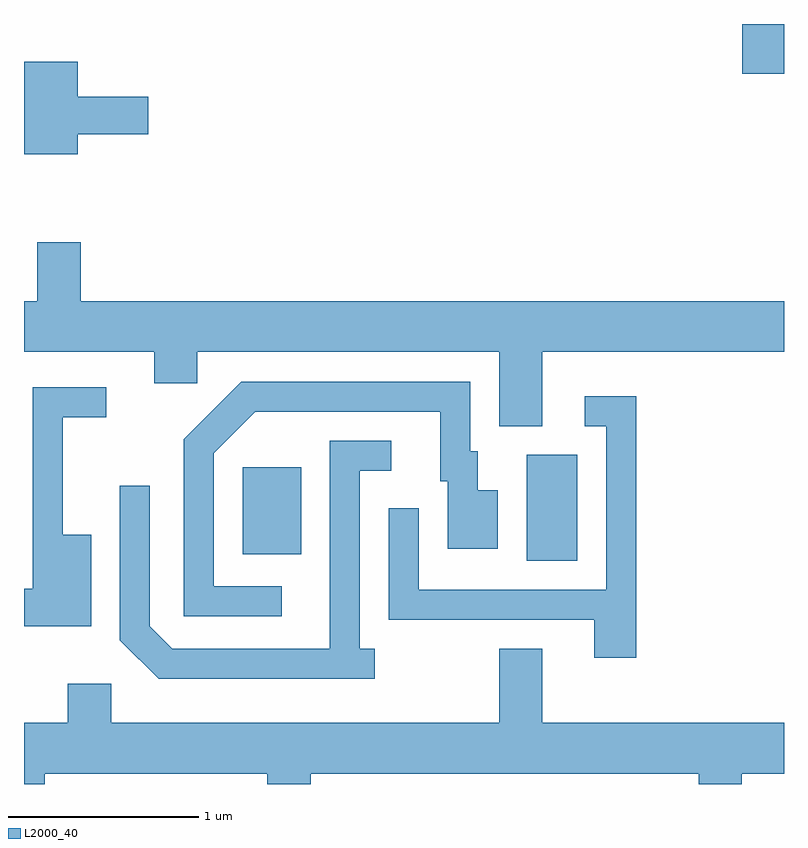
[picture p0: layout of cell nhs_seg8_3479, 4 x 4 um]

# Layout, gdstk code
import gdstk
lib = gdstk.Library(unit=1e-6, precision=1e-09)
def R(c, l, rs):  # rectangles x0, y0, x1, y1
    for r in rs: c.add(gdstk.rectangle(r[:2], r[2:], *l))
def P(c, l, *ps):  # polygons
    for p in ps: c.add(gdstk.Polygon(p, *l))
L2000_40 = (2000, 40)

nhs_seg8_3479 = lib.new_cell('nhs_seg8_3479')
R(nhs_seg8_3479, L2000_40, [(292.256,1857.516,292.524,1858.074), (290.761,1857.551,291.069,1858.009), (293.391,1860.081,293.611,1860.342)])
P(nhs_seg8_3479, L2000_40, [(289.894,1859.761),(290.264,1859.761),(290.264,1859.959),(289.894,1859.959),(289.894,1860.144),(289.611,1860.144),(289.611,1859.656),(289.894,1859.656)],
  [(292.339,1858.616),(293.611,1858.616),(293.611,1858.884),(289.909,1858.884),(289.909,1859.194),(289.681,1859.194),(289.681,1858.884),(289.611,1858.884),(289.611,1858.616),(290.296,1858.616),(290.296,1858.451),(290.524,1858.451),(290.524,1858.616),(292.111,1858.616),(292.111,1858.226),(292.339,1858.226)],
  [(290.968,1857.384),(290.609,1857.384),(290.609,1858.084),(290.827,1858.301),(291.801,1858.301),(291.801,1857.936),(291.841,1857.936),(291.841,1857.581),(292.104,1857.581),(292.104,1857.889),(291.999,1857.889),(291.999,1858.094),(291.959,1858.094),(291.959,1858.459),(290.754,1858.459),(290.451,1858.157),(290.451,1857.226),(290.968,1857.226)],
  [(289.964,1857.654),(289.814,1857.654),(289.814,1858.271),(290.043,1858.271),(290.043,1858.429),(289.656,1858.429),(289.656,1857.369),(289.611,1857.369),(289.611,1857.171),(289.964,1857.171)],
  [(292.834,1858.384),(292.563,1858.384),(292.563,1858.226),(292.676,1858.226),(292.676,1857.364),(291.689,1857.364),(291.689,1857.793),(291.531,1857.793),(291.531,1857.206),(292.611,1857.206),(292.611,1857.006),(292.834,1857.006)],
  [(291.458,1857.054),(291.379,1857.054),(291.379,1857.991),(291.543,1857.991),(291.543,1858.149),(291.221,1858.149),(291.221,1857.054),(290.392,1857.054),(290.274,1857.172),(290.274,1857.913),(290.116,1857.913),(290.116,1857.099),(290.319,1856.896),(291.458,1856.896)],
  [(289.719,1856.396),(290.891,1856.396),(290.891,1856.342),(291.119,1856.342),(291.119,1856.396),(293.161,1856.396),(293.161,1856.342),(293.389,1856.342),(293.389,1856.396),(293.611,1856.396),(293.611,1856.664),(292.339,1856.664),(292.339,1857.054),(292.111,1857.054),(292.111,1856.664),(290.069,1856.664),(290.069,1856.869),(289.841,1856.869),(289.841,1856.664),(289.611,1856.664),(289.611,1856.342),(289.719,1856.342)])

lib.write_gds('nhs_seg8_3479.gds')
